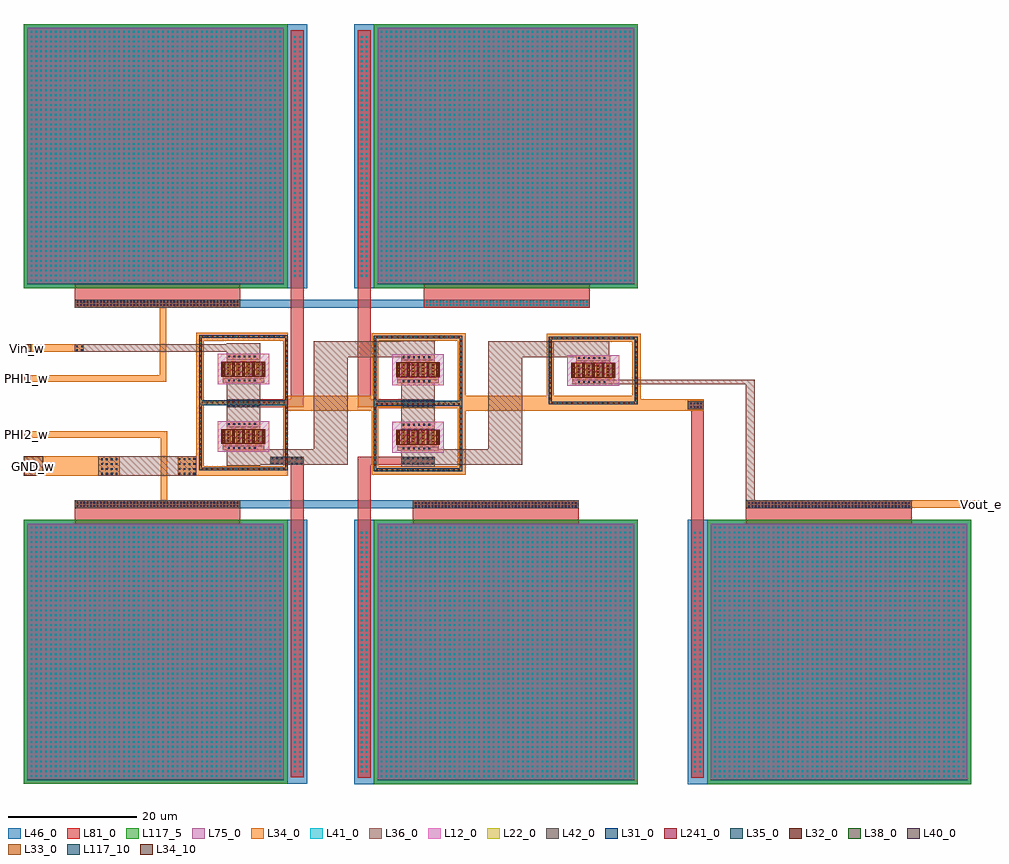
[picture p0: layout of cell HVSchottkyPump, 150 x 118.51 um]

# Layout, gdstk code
import gdstk
lib = gdstk.Library(unit=1e-6, precision=1e-09)
def R(c, l, rs):  # rectangles x0, y0, x1, y1
    for r in rs: c.add(gdstk.rectangle(r[:2], r[2:], *l))
def A(c, l, x, y, w, h, nx, ny, dx, dy):  # array of equal rectangles
    R(c, l, [(x+i*dx, y+j*dy, x+i*dx+w, y+j*dy+h) for i in range(nx) for j in range(ny)])
def P(c, l, *ps):  # polygons
    for p in ps: c.add(gdstk.Polygon(p, *l))
L12_0 = (12, 0)
L22_0 = (22, 0)
L31_0 = (31, 0)
L32_0 = (32, 0)
L33_0 = (33, 0)
L34_0 = (34, 0)
L34_10 = (34, 10)
L35_0 = (35, 0)
L36_0 = (36, 0)
L38_0 = (38, 0)
L40_0 = (40, 0)
L41_0 = (41, 0)
L42_0 = (42, 0)
L46_0 = (46, 0)
L75_0 = (75, 0)
L81_0 = (81, 0)
L117_5 = (117, 5)
L117_10 = (117, 10)
L241_0 = (241, 0)

cap_mim = lib.new_cell('cap_mim')
A(cap_mim, L41_0, 0.49, 0.49, 0.26, 0.26, 52, 52, 0.76, 0.76)
R(cap_mim, L46_0, [(-0.6,-0.6,40.6,40.6)])
R(cap_mim, L75_0, [(0,0,40,40)])
R(cap_mim, L81_0, [(0,0,40,40)])
R(cap_mim, L117_5, [(-0.6,-0.6,40.6,40.6)])
R(cap_mim, L117_10, [(0,0,40,0.1)])

sc_diode = lib.new_cell('sc_diode')
R(sc_diode, L12_0, [(-0.76,-1.4,7.28,3.4)])
A(sc_diode, L22_0, 0, 0, 0.36, 2, 5, 1, 1.54, 0)
A(sc_diode, L22_0, 0.64, 0, 0.62, 2, 4, 1, 1.54, 0)
P(sc_diode, L22_0, [(-3.62,-4.26),(-3.62,5.9),(-3.26,5.9),(-3.26,-3.9),(9.78,-3.9),(9.78,5.9),(-3.62,5.9),(-3.62,6.26),(10.14,6.26),(10.14,-4.26)])
P(sc_diode, L31_0, [(-3.65,-4.29),(-3.65,5.87),(-3.23,5.87),(-3.23,-3.87),(9.75,-3.87),(9.75,5.87),(-3.65,5.87),(-3.65,6.29),(10.17,6.29),(10.17,-4.29)])
A(sc_diode, L32_0, -0.03, -0.03, 0.42, 2.06, 5, 1, 1.54, 0)
A(sc_diode, L33_0, 0.07, 0.185, 0.22, 0.22, 9, 4, 0.77, 0.47)
A(sc_diode, L34_0, 0, -0.23, 0.36, 2.23, 5, 1, 1.54, 0)
A(sc_diode, L34_0, 0.64, 0, 0.62, 2.23, 4, 1, 1.54, 0)
R(sc_diode, L34_0, [(0,-0.46,6.52,-0.23), (0.64,2.23,5.88,2.46)])
R(sc_diode, L241_0, [(-0.16,-0.16,6.68,2.16)])

hvschottkypump = lib.new_cell('HVSchottkyPump')
A(hvschottkypump, L33_0, 54.99, 48.87, 0.22, 0.22, 17, 2, 0.8, 20.68)
A(hvschottkypump, L33_0, 27.76, 48.97, 0.22, 0.22, 17, 2, 0.8, 20.68)
A(hvschottkypump, L33_0, 54.7, 49.6, 0.22, 0.22, 1, 12, 0, 0.8)
A(hvschottkypump, L33_0, 68.1, 49.6, 0.22, 0.22, 1, 12, 0, 0.8)
A(hvschottkypump, L33_0, 27.47, 49.7, 0.22, 0.22, 1, 12, 0, 0.8)
A(hvschottkypump, L33_0, 40.87, 49.7, 0.22, 0.22, 1, 12, 0, 0.8)
A(hvschottkypump, L33_0, 82.02, 60.01, 0.22, 0.22, 1, 12, 0, 0.8)
A(hvschottkypump, L33_0, 95.42, 60.01, 0.22, 0.22, 1, 12, 0, 0.8)
A(hvschottkypump, L33_0, 54.7, 60.12, 0.22, 0.22, 1, 12, 0, 0.8)
A(hvschottkypump, L33_0, 68.1, 60.12, 0.22, 0.22, 1, 12, 0, 0.8)
A(hvschottkypump, L33_0, 27.47, 60.22, 0.22, 0.22, 1, 12, 0, 0.8)
A(hvschottkypump, L33_0, 40.87, 60.22, 0.22, 0.22, 1, 12, 0, 0.8)
A(hvschottkypump, L33_0, 82.31, 69.44, 0.22, 0.22, 17, 1, 0.8, 0)
R(hvschottkypump, L33_0, [(54.99,59.14,55.21,59.36), (54.99,59.14,55.21,59.36), (55.79,59.14,56.01,59.36), (55.79,59.14,56.01,59.36), (56.59,59.14,56.81,59.36), (56.59,59.14,56.81,59.36), (57.39,59.14,57.61,59.36), (57.39,59.14,57.61,59.36), (58.19,59.14,58.41,59.36), (58.19,59.14,58.41,59.36), (58.99,59.14,59.21,59.36), (58.99,59.14,59.21,59.36), (59.79,59.14,60.01,59.36), (59.79,59.14,60.01,59.36), (60.59,59.14,60.81,59.36), (60.59,59.14,60.81,59.36), (61.39,59.14,61.61,59.36), (61.39,59.14,61.61,59.36), (62.19,59.14,62.41,59.36), (62.19,59.14,62.41,59.36), (62.99,59.14,63.21,59.36), (62.99,59.14,63.21,59.36), (63.79,59.14,64.01,59.36), (63.79,59.14,64.01,59.36), (64.59,59.14,64.81,59.36), (64.59,59.14,64.81,59.36), (65.39,59.14,65.61,59.36), (65.39,59.14,65.61,59.36), (66.19,59.14,66.41,59.36), (66.19,59.14,66.41,59.36), (66.99,59.14,67.21,59.36), (66.99,59.14,67.21,59.36), (67.79,59.14,68.01,59.36), (67.79,59.14,68.01,59.36), (82.31,59.28,82.53,59.5), (82.31,59.28,82.53,59.5), (83.11,59.28,83.33,59.5), (83.11,59.28,83.33,59.5), (83.91,59.28,84.13,59.5), (83.91,59.28,84.13,59.5), (84.71,59.28,84.93,59.5), (84.71,59.28,84.93,59.5), (85.51,59.28,85.73,59.5), (85.51,59.28,85.73,59.5), (86.31,59.28,86.53,59.5), (86.31,59.28,86.53,59.5), (87.11,59.28,87.33,59.5), (87.11,59.28,87.33,59.5), (87.91,59.28,88.13,59.5), (87.91,59.28,88.13,59.5), (88.71,59.28,88.93,59.5), (88.71,59.28,88.93,59.5), (89.51,59.28,89.73,59.5), (89.51,59.28,89.73,59.5), (90.31,59.28,90.53,59.5), (90.31,59.28,90.53,59.5), (91.11,59.28,91.33,59.5), (91.11,59.28,91.33,59.5), (91.91,59.28,92.13,59.5), (91.91,59.28,92.13,59.5), (92.71,59.28,92.93,59.5), (92.71,59.28,92.93,59.5), (93.51,59.28,93.73,59.5), (93.51,59.28,93.73,59.5), (94.31,59.28,94.53,59.5), (94.31,59.28,94.53,59.5), (95.11,59.28,95.33,59.5), (95.11,59.28,95.33,59.5), (27.76,59.34,27.98,59.56), (27.76,59.34,27.98,59.56), (28.56,59.34,28.78,59.56), (28.56,59.34,28.78,59.56), (29.36,59.34,29.58,59.56), (29.36,59.34,29.58,59.56), (30.16,59.34,30.38,59.56), (30.16,59.34,30.38,59.56), (30.96,59.34,31.18,59.56), (30.96,59.34,31.18,59.56), (31.76,59.34,31.98,59.56), (31.76,59.34,31.98,59.56), (32.56,59.34,32.78,59.56), (32.56,59.34,32.78,59.56), (33.36,59.34,33.58,59.56), (33.36,59.34,33.58,59.56), (34.16,59.34,34.38,59.56), (34.16,59.34,34.38,59.56), (34.96,59.34,35.18,59.56), (34.96,59.34,35.18,59.56), (35.76,59.34,35.98,59.56), (35.76,59.34,35.98,59.56), (36.56,59.34,36.78,59.56), (36.56,59.34,36.78,59.56), (37.36,59.34,37.58,59.56), (37.36,59.34,37.58,59.56), (38.16,59.34,38.38,59.56), (38.16,59.34,38.38,59.56), (38.96,59.34,39.18,59.56), (38.96,59.34,39.18,59.56), (39.76,59.34,39.98,59.56), (39.76,59.34,39.98,59.56), (40.56,59.34,40.78,59.56), (40.56,59.34,40.78,59.56)])
A(hvschottkypump, L34_0, 60.675, 42.945, 2.47, 1.245, 16, 1, 1.56, 0)
A(hvschottkypump, L34_0, 112.65, 42.945, 2.47, 1.245, 16, 1, 1.56, 0)
A(hvschottkypump, L34_0, 7.945, 42.965, 2.47, 1.245, 16, 2, 1.56, 31.315)
R(hvschottkypump, L34_0, [(118.96,43.03,119.23,44.19), (119.23,43.03,140.6,44.19), (140.6,43.03,149.99,44.19), (21.365,44.18,22.365,55), (0,48.02,15,51.07), (24.01,48.02,27.375,51.07), (26.9,48.02,28.09,69.97), (26.9,48.02,41.19,49.545), (27.375,48.02,41.195,48.99), (40.46,48.02,41.19,70.35), (54.28,48.18,68.92,49.53), (67.72,48.18,68.92,70.25), (54.28,48.41,55.28,70.25), (54.605,48.74,68.42,48.77), (54.6,48.77,68.42,49.19), (54.6,48.77,55.02,58.93), (68,48.77,68.42,59.35), (27.375,48.84,41.195,48.87), (27.37,48.87,41.19,49.29), (27.37,48.87,27.79,59.03), (40.77,48.87,41.19,59.45), (58.25,51.92,64.77,52.6), (31.02,52.02,37.54,52.7), (19.435,54,22.365,55), (58.885,55.52,64.13,56.46), (58.885,55.52,64.13,56.46), (58.89,55.52,64.135,56.46), (58.89,55.52,64.135,56.46), (58.89,55.52,64.135,56.46), (58.89,55.52,64.135,56.46), (31.66,55.62,36.905,56.56), (31.66,55.62,36.905,56.56), (31.66,55.62,36.905,56.56), (31.66,55.62,36.905,56.56), (41.095,58.15,54.695,60.545), (68.315,58.155,81.915,60.55), (81.915,58.155,95.635,59.15), (95.635,58.155,106.075,59.95), (103.605,58.44,106.075,59.685), (54.6,58.58,68.315,59.71), (81.6,58.77,82.69,70.04), (81.6,58.77,95.74,60.53), (27.37,59.03,40.77,59.39), (94.92,59.12,96.21,70.16), (81.915,59.15,95.635,59.18), (81.91,59.18,81.92,60.55), (81.92,59.18,95.74,59.6), (81.92,59.18,95.74,59.6), (81.92,59.18,82.34,69.34), (95.32,59.18,95.74,69.76), (54.6,59.29,68.42,59.71), (54.6,59.29,68.42,59.71), (54.6,59.29,55.02,69.45), (68,59.29,68.42,69.87), (27.37,59.39,41.19,59.81), (27.37,59.39,41.19,59.81), (27.37,59.39,27.79,69.55), (40.77,59.39,41.19,69.97), (85.57,62.33,92.09,63.01), (58.25,62.44,64.77,63.12), (31.02,62.54,37.54,63.22), (19.335,62.7,22.265,63.7), (19.335,63.01,22.265,63.345), (21.26,63.01,22.265,75.29), (86.205,65.93,91.45,66.87), (86.205,65.93,91.45,66.87), (86.21,65.93,91.455,66.87), (86.21,65.93,91.455,66.87), (58.885,66.04,64.13,66.98), (58.89,66.04,64.135,66.98), (58.89,66.04,64.135,66.98), (31.66,66.14,36.905,67.08), (31.66,66.14,36.905,67.08), (-0.005,67.37,9.385,68.53), (-0.005,67.37,9.385,68.53), (81.6,68.95,96.21,70.16), (54.28,69.07,68.92,70.25), (26.9,69.11,41.19,70.35), (81.92,69.34,95.74,69.76), (54.6,69.45,68.42,69.87), (27.37,69.55,41.19,69.97)])
R(hvschottkypump, L34_10, [(148.7,43.03,149.99,44.19), (0,48.02,3.04,51.07), (0,54,1.015,55), (0,62.7,1.015,63.7), (-0.005,67.37,1.175,68.53), (-0.005,67.37,1.175,68.53), (-0.005,67.37,1.175,68.53), (-0.005,67.37,1.175,68.53)])
A(hvschottkypump, L35_0, 61.02, 43.165, 0.26, 0.26, 4, 2, 0.52, 0.52)
A(hvschottkypump, L35_0, 62.58, 43.165, 0.26, 0.26, 4, 2, 0.52, 0.52)
A(hvschottkypump, L35_0, 64.14, 43.165, 0.26, 0.26, 4, 2, 0.52, 0.52)
A(hvschottkypump, L35_0, 65.7, 43.165, 0.26, 0.26, 4, 2, 0.52, 0.52)
A(hvschottkypump, L35_0, 67.26, 43.165, 0.26, 0.26, 4, 2, 0.52, 0.52)
A(hvschottkypump, L35_0, 68.82, 43.165, 0.26, 0.26, 4, 2, 0.52, 0.52)
A(hvschottkypump, L35_0, 70.38, 43.165, 0.26, 0.26, 4, 2, 0.52, 0.52)
A(hvschottkypump, L35_0, 71.94, 43.165, 0.26, 0.26, 4, 2, 0.52, 0.52)
A(hvschottkypump, L35_0, 73.5, 43.165, 0.26, 0.26, 4, 2, 0.52, 0.52)
A(hvschottkypump, L35_0, 75.06, 43.165, 0.26, 0.26, 4, 2, 0.52, 0.52)
A(hvschottkypump, L35_0, 76.62, 43.165, 0.26, 0.26, 4, 2, 0.52, 0.52)
A(hvschottkypump, L35_0, 78.18, 43.165, 0.26, 0.26, 4, 2, 0.52, 0.52)
A(hvschottkypump, L35_0, 79.74, 43.165, 0.26, 0.26, 4, 2, 0.52, 0.52)
A(hvschottkypump, L35_0, 81.3, 43.165, 0.26, 0.26, 4, 2, 0.52, 0.52)
A(hvschottkypump, L35_0, 82.86, 43.165, 0.26, 0.26, 4, 2, 0.52, 0.52)
A(hvschottkypump, L35_0, 84.42, 43.165, 0.26, 0.26, 4, 2, 0.52, 0.52)
A(hvschottkypump, L35_0, 112.995, 43.165, 0.26, 0.26, 4, 2, 0.52, 0.52)
A(hvschottkypump, L35_0, 114.555, 43.165, 0.26, 0.26, 4, 2, 0.52, 0.52)
A(hvschottkypump, L35_0, 116.115, 43.165, 0.26, 0.26, 4, 2, 0.52, 0.52)
A(hvschottkypump, L35_0, 117.675, 43.165, 0.26, 0.26, 4, 2, 0.52, 0.52)
A(hvschottkypump, L35_0, 119.235, 43.165, 0.26, 0.26, 4, 2, 0.52, 0.52)
A(hvschottkypump, L35_0, 120.795, 43.165, 0.26, 0.26, 4, 2, 0.52, 0.52)
A(hvschottkypump, L35_0, 122.355, 43.165, 0.26, 0.26, 4, 2, 0.52, 0.52)
A(hvschottkypump, L35_0, 123.915, 43.165, 0.26, 0.26, 4, 2, 0.52, 0.52)
A(hvschottkypump, L35_0, 125.475, 43.165, 0.26, 0.26, 4, 2, 0.52, 0.52)
A(hvschottkypump, L35_0, 127.035, 43.165, 0.26, 0.26, 4, 2, 0.52, 0.52)
A(hvschottkypump, L35_0, 128.595, 43.165, 0.26, 0.26, 4, 2, 0.52, 0.52)
A(hvschottkypump, L35_0, 130.155, 43.165, 0.26, 0.26, 4, 2, 0.52, 0.52)
A(hvschottkypump, L35_0, 131.715, 43.165, 0.26, 0.26, 4, 2, 0.52, 0.52)
A(hvschottkypump, L35_0, 133.275, 43.165, 0.26, 0.26, 4, 2, 0.52, 0.52)
A(hvschottkypump, L35_0, 134.835, 43.165, 0.26, 0.26, 4, 2, 0.52, 0.52)
A(hvschottkypump, L35_0, 136.395, 43.165, 0.26, 0.26, 4, 2, 0.52, 0.52)
A(hvschottkypump, L35_0, 8.29, 43.185, 0.26, 0.26, 4, 2, 0.52, 0.52)
A(hvschottkypump, L35_0, 9.85, 43.185, 0.26, 0.26, 4, 2, 0.52, 0.52)
A(hvschottkypump, L35_0, 11.41, 43.185, 0.26, 0.26, 4, 2, 0.52, 0.52)
A(hvschottkypump, L35_0, 12.97, 43.185, 0.26, 0.26, 4, 2, 0.52, 0.52)
A(hvschottkypump, L35_0, 14.53, 43.185, 0.26, 0.26, 4, 2, 0.52, 0.52)
A(hvschottkypump, L35_0, 16.09, 43.185, 0.26, 0.26, 4, 2, 0.52, 0.52)
A(hvschottkypump, L35_0, 17.65, 43.185, 0.26, 0.26, 4, 2, 0.52, 0.52)
A(hvschottkypump, L35_0, 19.21, 43.185, 0.26, 0.26, 4, 2, 0.52, 0.52)
A(hvschottkypump, L35_0, 20.77, 43.185, 0.26, 0.26, 4, 2, 0.52, 0.52)
A(hvschottkypump, L35_0, 22.33, 43.185, 0.26, 0.26, 4, 2, 0.52, 0.52)
A(hvschottkypump, L35_0, 23.89, 43.185, 0.26, 0.26, 4, 2, 0.52, 0.52)
A(hvschottkypump, L35_0, 25.45, 43.185, 0.26, 0.26, 4, 2, 0.52, 0.52)
A(hvschottkypump, L35_0, 27.01, 43.185, 0.26, 0.26, 4, 2, 0.52, 0.52)
A(hvschottkypump, L35_0, 28.57, 43.185, 0.26, 0.26, 4, 2, 0.52, 0.52)
A(hvschottkypump, L35_0, 30.13, 43.185, 0.26, 0.26, 4, 2, 0.52, 0.52)
A(hvschottkypump, L35_0, 31.69, 43.185, 0.26, 0.26, 4, 2, 0.52, 0.52)
A(hvschottkypump, L35_0, 12.09, 48.22, 0.26, 0.26, 4, 4, 0.76, 0.76)
A(hvschottkypump, L35_0, 24.2, 48.23, 0.26, 0.26, 4, 4, 0.76, 0.76)
A(hvschottkypump, L35_0, 59.135, 52.14, 0.26, 0.26, 6, 2, 0.8, 10.52)
A(hvschottkypump, L35_0, 31.905, 52.24, 0.26, 0.26, 6, 2, 0.8, 10.52)
A(hvschottkypump, L35_0, 103.95, 58.66, 0.26, 0.26, 4, 2, 0.52, 0.52)
A(hvschottkypump, L35_0, 86.455, 62.55, 0.26, 0.26, 6, 2, 0.8, 3.73)
A(hvschottkypump, L35_0, 59.135, 66.39, 0.26, 0.26, 6, 1, 0.8, 0)
A(hvschottkypump, L35_0, 8.29, 74.525, 0.26, 0.26, 4, 2, 0.52, 0.52)
A(hvschottkypump, L35_0, 9.85, 74.525, 0.26, 0.26, 4, 2, 0.52, 0.52)
A(hvschottkypump, L35_0, 11.41, 74.525, 0.26, 0.26, 4, 2, 0.52, 0.52)
A(hvschottkypump, L35_0, 12.97, 74.525, 0.26, 0.26, 4, 2, 0.52, 0.52)
A(hvschottkypump, L35_0, 14.53, 74.525, 0.26, 0.26, 4, 2, 0.52, 0.52)
A(hvschottkypump, L35_0, 16.09, 74.525, 0.26, 0.26, 4, 2, 0.52, 0.52)
A(hvschottkypump, L35_0, 17.65, 74.525, 0.26, 0.26, 4, 2, 0.52, 0.52)
A(hvschottkypump, L35_0, 19.21, 74.525, 0.26, 0.26, 4, 2, 0.52, 0.52)
A(hvschottkypump, L35_0, 20.77, 74.525, 0.26, 0.26, 4, 2, 0.52, 0.52)
A(hvschottkypump, L35_0, 22.33, 74.525, 0.26, 0.26, 4, 2, 0.52, 0.52)
A(hvschottkypump, L35_0, 23.89, 74.525, 0.26, 0.26, 4, 2, 0.52, 0.52)
A(hvschottkypump, L35_0, 25.45, 74.525, 0.26, 0.26, 4, 2, 0.52, 0.52)
A(hvschottkypump, L35_0, 27.01, 74.525, 0.26, 0.26, 4, 2, 0.52, 0.52)
A(hvschottkypump, L35_0, 28.57, 74.525, 0.26, 0.26, 4, 2, 0.52, 0.52)
A(hvschottkypump, L35_0, 30.13, 74.525, 0.26, 0.26, 4, 2, 0.52, 0.52)
A(hvschottkypump, L35_0, 31.69, 74.525, 0.26, 0.26, 4, 2, 0.52, 0.52)
R(hvschottkypump, L35_0, [(61.02,43.685,61.28,43.945), (62.58,43.685,62.84,43.945), (64.14,43.685,64.4,43.945), (65.7,43.685,65.96,43.945), (67.26,43.685,67.52,43.945), (68.82,43.685,69.08,43.945), (70.38,43.685,70.64,43.945), (71.94,43.685,72.2,43.945), (73.5,43.685,73.76,43.945), (75.06,43.685,75.32,43.945), (76.62,43.685,76.88,43.945), (78.18,43.685,78.44,43.945), (79.74,43.685,80,43.945), (81.3,43.685,81.56,43.945), (82.86,43.685,83.12,43.945), (84.42,43.685,84.68,43.945), (112.995,43.685,113.255,43.945), (114.555,43.685,114.815,43.945), (116.115,43.685,116.375,43.945), (117.675,43.685,117.935,43.945), (119.235,43.685,119.495,43.945), (120.795,43.685,121.055,43.945), (122.355,43.685,122.615,43.945), (123.915,43.685,124.175,43.945), (125.475,43.685,125.735,43.945), (127.035,43.685,127.295,43.945), (128.595,43.685,128.855,43.945), (130.155,43.685,130.415,43.945), (131.715,43.685,131.975,43.945), (133.275,43.685,133.535,43.945), (134.835,43.685,135.095,43.945), (136.395,43.685,136.655,43.945), (8.29,43.705,8.55,43.965), (9.85,43.705,10.11,43.965), (11.41,43.705,11.67,43.965), (12.97,43.705,13.23,43.965), (14.53,43.705,14.79,43.965), (16.09,43.705,16.35,43.965), (17.65,43.705,17.91,43.965), (19.21,43.705,19.47,43.965), (20.77,43.705,21.03,43.965), (22.33,43.705,22.59,43.965), (23.89,43.705,24.15,43.965), (25.45,43.705,25.71,43.965), (27.01,43.705,27.27,43.965), (28.57,43.705,28.83,43.965), (30.13,43.705,30.39,43.965), (31.69,43.705,31.95,43.965), (59.135,55.87,59.395,56.13), (59.135,55.87,59.395,56.13), (59.935,55.87,60.195,56.13), (59.935,55.87,60.195,56.13), (60.735,55.87,60.995,56.13), (60.735,55.87,60.995,56.13), (61.535,55.87,61.795,56.13), (61.535,55.87,61.795,56.13), (62.335,55.87,62.595,56.13), (62.335,55.87,62.595,56.13), (63.135,55.87,63.395,56.13), (63.135,55.87,63.395,56.13), (31.91,55.97,32.17,56.23), (31.91,55.97,32.17,56.23), (32.71,55.97,32.97,56.23), (32.71,55.97,32.97,56.23), (33.51,55.97,33.77,56.23), (33.51,55.97,33.77,56.23), (34.31,55.97,34.57,56.23), (34.31,55.97,34.57,56.23), (35.11,55.97,35.37,56.23), (35.11,55.97,35.37,56.23), (35.91,55.97,36.17,56.23), (35.91,55.97,36.17,56.23), (105.51,58.66,105.77,58.92), (103.95,59.18,104.21,59.44), (105.51,59.18,105.77,59.44), (105.51,59.18,105.77,59.44), (31.91,66.49,32.17,66.75), (31.91,66.49,32.17,66.75), (32.71,66.49,32.97,66.75), (32.71,66.49,32.97,66.75), (33.51,66.49,33.77,66.75), (33.51,66.49,33.77,66.75), (34.31,66.49,34.57,66.75), (34.31,66.49,34.57,66.75), (35.11,66.49,35.37,66.75), (35.11,66.49,35.37,66.75), (35.91,66.49,36.17,66.75), (35.91,66.49,36.17,66.75), (8.175,67.53,8.435,67.79), (8.175,67.53,8.435,67.79), (9.015,67.53,9.275,67.79), (9.015,67.53,9.275,67.79), (8.175,68.07,8.435,68.33), (8.175,68.07,8.435,68.33), (9.015,68.07,9.275,68.33), (9.015,68.07,9.275,68.33), (8.29,74.525,8.55,74.785), (9.85,74.525,10.11,74.785), (11.41,74.525,11.67,74.785), (12.97,74.525,13.23,74.785), (14.53,74.525,14.79,74.785), (16.09,74.525,16.35,74.785), (17.65,74.525,17.91,74.785), (19.21,74.525,19.47,74.785), (20.77,74.525,21.03,74.785), (22.33,74.525,22.59,74.785), (23.89,74.525,24.15,74.785), (25.45,74.525,25.71,74.785), (27.01,74.525,27.27,74.785), (28.57,74.525,28.83,74.785), (30.13,74.525,30.39,74.785), (31.69,74.525,31.95,74.785)])
A(hvschottkypump, L36_0, 60.675, 42.945, 2.47, 1.245, 16, 1, 1.56, 0)
A(hvschottkypump, L36_0, 112.65, 42.945, 2.47, 1.245, 16, 1, 1.56, 0)
A(hvschottkypump, L36_0, 7.945, 42.965, 2.47, 1.245, 16, 2, 1.56, 31.315)
R(hvschottkypump, L36_0, [(112.65,44.19,113.995,62.33), (11.68,48.02,26.9,51.07), (58.885,49.48,64.125,51.92), (31.665,49.58,36.905,52.02), (36.905,49.73,45.275,52.17), (45.275,49.73,50.515,68.99), (64.125,49.73,72.495,52.17), (72.495,49.73,77.735,68.99), (58.25,51.92,64.77,52.6), (31.02,52.02,37.54,52.7), (58.89,55.29,64.125,55.52), (58.89,55.52,64.125,56.44), (58.89,55.52,64.125,56.44), (31.665,55.62,36.9,56.54), (31.665,55.62,36.9,56.54), (31.665,56.39,36.905,62.33), (58.885,56.39,64.125,62.33), (103.605,58.44,106.075,59.685), (31.665,62.33,36.91,62.54), (58.885,62.33,64.13,62.44), (85.57,62.33,92.09,63.01), (58.25,62.44,64.77,63.12), (31.02,62.54,37.54,63.22), (86.21,65.93,91.445,66.85), (58.89,66.04,64.125,66.96), (31.665,66.14,36.9,67.06), (31.665,66.14,36.9,67.06), (50.515,66.55,58.885,68.99), (58.885,66.55,58.89,66.66), (77.735,66.55,86.105,68.99), (86.105,66.55,91.345,68.99), (58.885,66.66,64.125,69.1), (31.665,66.76,36.905,68.74), (7.995,67.37,31.665,68.53)])
A(hvschottkypump, L38_0, 61.02, 43.165, 0.26, 0.26, 4, 2, 0.52, 0.52)
A(hvschottkypump, L38_0, 62.58, 43.165, 0.26, 0.26, 4, 2, 0.52, 0.52)
A(hvschottkypump, L38_0, 64.14, 43.165, 0.26, 0.26, 4, 2, 0.52, 0.52)
A(hvschottkypump, L38_0, 65.7, 43.165, 0.26, 0.26, 4, 2, 0.52, 0.52)
A(hvschottkypump, L38_0, 67.26, 43.165, 0.26, 0.26, 4, 2, 0.52, 0.52)
A(hvschottkypump, L38_0, 68.82, 43.165, 0.26, 0.26, 4, 2, 0.52, 0.52)
A(hvschottkypump, L38_0, 70.38, 43.165, 0.26, 0.26, 4, 2, 0.52, 0.52)
A(hvschottkypump, L38_0, 71.94, 43.165, 0.26, 0.26, 4, 2, 0.52, 0.52)
A(hvschottkypump, L38_0, 73.5, 43.165, 0.26, 0.26, 4, 2, 0.52, 0.52)
A(hvschottkypump, L38_0, 75.06, 43.165, 0.26, 0.26, 4, 2, 0.52, 0.52)
A(hvschottkypump, L38_0, 76.62, 43.165, 0.26, 0.26, 4, 2, 0.52, 0.52)
A(hvschottkypump, L38_0, 78.18, 43.165, 0.26, 0.26, 4, 2, 0.52, 0.52)
A(hvschottkypump, L38_0, 79.74, 43.165, 0.26, 0.26, 4, 2, 0.52, 0.52)
A(hvschottkypump, L38_0, 81.3, 43.165, 0.26, 0.26, 4, 2, 0.52, 0.52)
A(hvschottkypump, L38_0, 82.86, 43.165, 0.26, 0.26, 4, 2, 0.52, 0.52)
A(hvschottkypump, L38_0, 84.42, 43.165, 0.26, 0.26, 4, 2, 0.52, 0.52)
A(hvschottkypump, L38_0, 112.995, 43.165, 0.26, 0.26, 4, 2, 0.52, 0.52)
A(hvschottkypump, L38_0, 114.555, 43.165, 0.26, 0.26, 4, 2, 0.52, 0.52)
A(hvschottkypump, L38_0, 116.115, 43.165, 0.26, 0.26, 4, 2, 0.52, 0.52)
A(hvschottkypump, L38_0, 117.675, 43.165, 0.26, 0.26, 4, 2, 0.52, 0.52)
A(hvschottkypump, L38_0, 119.235, 43.165, 0.26, 0.26, 4, 2, 0.52, 0.52)
A(hvschottkypump, L38_0, 120.795, 43.165, 0.26, 0.26, 4, 2, 0.52, 0.52)
A(hvschottkypump, L38_0, 122.355, 43.165, 0.26, 0.26, 4, 2, 0.52, 0.52)
A(hvschottkypump, L38_0, 123.915, 43.165, 0.26, 0.26, 4, 2, 0.52, 0.52)
A(hvschottkypump, L38_0, 125.475, 43.165, 0.26, 0.26, 4, 2, 0.52, 0.52)
A(hvschottkypump, L38_0, 127.035, 43.165, 0.26, 0.26, 4, 2, 0.52, 0.52)
A(hvschottkypump, L38_0, 128.595, 43.165, 0.26, 0.26, 4, 2, 0.52, 0.52)
A(hvschottkypump, L38_0, 130.155, 43.165, 0.26, 0.26, 4, 2, 0.52, 0.52)
A(hvschottkypump, L38_0, 131.715, 43.165, 0.26, 0.26, 4, 2, 0.52, 0.52)
A(hvschottkypump, L38_0, 133.275, 43.165, 0.26, 0.26, 4, 2, 0.52, 0.52)
A(hvschottkypump, L38_0, 134.835, 43.165, 0.26, 0.26, 4, 2, 0.52, 0.52)
A(hvschottkypump, L38_0, 136.395, 43.165, 0.26, 0.26, 4, 2, 0.52, 0.52)
A(hvschottkypump, L38_0, 8.29, 43.185, 0.26, 0.26, 4, 2, 0.52, 0.52)
A(hvschottkypump, L38_0, 9.85, 43.185, 0.26, 0.26, 4, 2, 0.52, 0.52)
A(hvschottkypump, L38_0, 11.41, 43.185, 0.26, 0.26, 4, 2, 0.52, 0.52)
A(hvschottkypump, L38_0, 12.97, 43.185, 0.26, 0.26, 4, 2, 0.52, 0.52)
A(hvschottkypump, L38_0, 14.53, 43.185, 0.26, 0.26, 4, 2, 0.52, 0.52)
A(hvschottkypump, L38_0, 16.09, 43.185, 0.26, 0.26, 4, 2, 0.52, 0.52)
A(hvschottkypump, L38_0, 17.65, 43.185, 0.26, 0.26, 4, 2, 0.52, 0.52)
A(hvschottkypump, L38_0, 19.21, 43.185, 0.26, 0.26, 4, 2, 0.52, 0.52)
A(hvschottkypump, L38_0, 20.77, 43.185, 0.26, 0.26, 4, 2, 0.52, 0.52)
A(hvschottkypump, L38_0, 22.33, 43.185, 0.26, 0.26, 4, 2, 0.52, 0.52)
A(hvschottkypump, L38_0, 23.89, 43.185, 0.26, 0.26, 4, 2, 0.52, 0.52)
A(hvschottkypump, L38_0, 25.45, 43.185, 0.26, 0.26, 4, 2, 0.52, 0.52)
A(hvschottkypump, L38_0, 27.01, 43.185, 0.26, 0.26, 4, 2, 0.52, 0.52)
A(hvschottkypump, L38_0, 28.57, 43.185, 0.26, 0.26, 4, 2, 0.52, 0.52)
A(hvschottkypump, L38_0, 30.13, 43.185, 0.26, 0.26, 4, 2, 0.52, 0.52)
A(hvschottkypump, L38_0, 31.69, 43.185, 0.26, 0.26, 4, 2, 0.52, 0.52)
A(hvschottkypump, L38_0, 38.665, 49.85, 0.26, 0.26, 7, 2, 0.76, 0.76)
A(hvschottkypump, L38_0, 59.095, 49.85, 0.26, 0.26, 7, 2, 0.76, 0.76)
A(hvschottkypump, L38_0, 103.95, 58.66, 0.26, 0.26, 4, 2, 0.52, 0.52)
A(hvschottkypump, L38_0, 31.875, 58.85, 0.26, 0.26, 7, 2, 0.76, 0.76)
A(hvschottkypump, L38_0, 59.095, 58.85, 0.26, 0.26, 7, 2, 0.76, 0.76)
A(hvschottkypump, L38_0, 8.29, 74.525, 0.26, 0.26, 4, 2, 0.52, 0.52)
A(hvschottkypump, L38_0, 9.85, 74.525, 0.26, 0.26, 4, 2, 0.52, 0.52)
A(hvschottkypump, L38_0, 11.41, 74.525, 0.26, 0.26, 4, 2, 0.52, 0.52)
A(hvschottkypump, L38_0, 12.97, 74.525, 0.26, 0.26, 4, 2, 0.52, 0.52)
A(hvschottkypump, L38_0, 14.53, 74.525, 0.26, 0.26, 4, 2, 0.52, 0.52)
A(hvschottkypump, L38_0, 16.09, 74.525, 0.26, 0.26, 4, 2, 0.52, 0.52)
A(hvschottkypump, L38_0, 17.65, 74.525, 0.26, 0.26, 4, 2, 0.52, 0.52)
A(hvschottkypump, L38_0, 19.21, 74.525, 0.26, 0.26, 4, 2, 0.52, 0.52)
A(hvschottkypump, L38_0, 20.77, 74.525, 0.26, 0.26, 4, 2, 0.52, 0.52)
A(hvschottkypump, L38_0, 22.33, 74.525, 0.26, 0.26, 4, 2, 0.52, 0.52)
A(hvschottkypump, L38_0, 23.89, 74.525, 0.26, 0.26, 4, 2, 0.52, 0.52)
A(hvschottkypump, L38_0, 25.45, 74.525, 0.26, 0.26, 4, 2, 0.52, 0.52)
A(hvschottkypump, L38_0, 27.01, 74.525, 0.26, 0.26, 4, 2, 0.52, 0.52)
A(hvschottkypump, L38_0, 28.57, 74.525, 0.26, 0.26, 4, 2, 0.52, 0.52)
A(hvschottkypump, L38_0, 30.13, 74.525, 0.26, 0.26, 4, 2, 0.52, 0.52)
A(hvschottkypump, L38_0, 31.69, 74.525, 0.26, 0.26, 4, 2, 0.52, 0.52)
R(hvschottkypump, L38_0, [(105.51,58.66,105.77,58.92), (105.51,59.18,105.77,59.44)])
A(hvschottkypump, L40_0, 61.02, 43.165, 0.26, 0.26, 4, 2, 0.52, 0.52)
A(hvschottkypump, L40_0, 62.58, 43.165, 0.26, 0.26, 4, 2, 0.52, 0.52)
A(hvschottkypump, L40_0, 64.14, 43.165, 0.26, 0.26, 4, 2, 0.52, 0.52)
A(hvschottkypump, L40_0, 65.7, 43.165, 0.26, 0.26, 4, 2, 0.52, 0.52)
A(hvschottkypump, L40_0, 67.26, 43.165, 0.26, 0.26, 4, 2, 0.52, 0.52)
A(hvschottkypump, L40_0, 68.82, 43.165, 0.26, 0.26, 4, 2, 0.52, 0.52)
A(hvschottkypump, L40_0, 70.38, 43.165, 0.26, 0.26, 4, 2, 0.52, 0.52)
A(hvschottkypump, L40_0, 71.94, 43.165, 0.26, 0.26, 4, 2, 0.52, 0.52)
A(hvschottkypump, L40_0, 73.5, 43.165, 0.26, 0.26, 4, 2, 0.52, 0.52)
A(hvschottkypump, L40_0, 75.06, 43.165, 0.26, 0.26, 4, 2, 0.52, 0.52)
A(hvschottkypump, L40_0, 76.62, 43.165, 0.26, 0.26, 4, 2, 0.52, 0.52)
A(hvschottkypump, L40_0, 78.18, 43.165, 0.26, 0.26, 4, 2, 0.52, 0.52)
A(hvschottkypump, L40_0, 79.74, 43.165, 0.26, 0.26, 4, 2, 0.52, 0.52)
A(hvschottkypump, L40_0, 81.3, 43.165, 0.26, 0.26, 4, 2, 0.52, 0.52)
A(hvschottkypump, L40_0, 82.86, 43.165, 0.26, 0.26, 4, 2, 0.52, 0.52)
A(hvschottkypump, L40_0, 84.42, 43.165, 0.26, 0.26, 4, 2, 0.52, 0.52)
A(hvschottkypump, L40_0, 112.995, 43.165, 0.26, 0.26, 4, 2, 0.52, 0.52)
A(hvschottkypump, L40_0, 114.555, 43.165, 0.26, 0.26, 4, 2, 0.52, 0.52)
A(hvschottkypump, L40_0, 116.115, 43.165, 0.26, 0.26, 4, 2, 0.52, 0.52)
A(hvschottkypump, L40_0, 117.675, 43.165, 0.26, 0.26, 4, 2, 0.52, 0.52)
A(hvschottkypump, L40_0, 119.235, 43.165, 0.26, 0.26, 4, 2, 0.52, 0.52)
A(hvschottkypump, L40_0, 120.795, 43.165, 0.26, 0.26, 4, 2, 0.52, 0.52)
A(hvschottkypump, L40_0, 122.355, 43.165, 0.26, 0.26, 4, 2, 0.52, 0.52)
A(hvschottkypump, L40_0, 123.915, 43.165, 0.26, 0.26, 4, 2, 0.52, 0.52)
A(hvschottkypump, L40_0, 125.475, 43.165, 0.26, 0.26, 4, 2, 0.52, 0.52)
A(hvschottkypump, L40_0, 127.035, 43.165, 0.26, 0.26, 4, 2, 0.52, 0.52)
A(hvschottkypump, L40_0, 128.595, 43.165, 0.26, 0.26, 4, 2, 0.52, 0.52)
A(hvschottkypump, L40_0, 130.155, 43.165, 0.26, 0.26, 4, 2, 0.52, 0.52)
A(hvschottkypump, L40_0, 131.715, 43.165, 0.26, 0.26, 4, 2, 0.52, 0.52)
A(hvschottkypump, L40_0, 133.275, 43.165, 0.26, 0.26, 4, 2, 0.52, 0.52)
A(hvschottkypump, L40_0, 134.835, 43.165, 0.26, 0.26, 4, 2, 0.52, 0.52)
A(hvschottkypump, L40_0, 136.395, 43.165, 0.26, 0.26, 4, 2, 0.52, 0.52)
A(hvschottkypump, L40_0, 8.29, 43.185, 0.26, 0.26, 4, 2, 0.52, 0.52)
A(hvschottkypump, L40_0, 9.85, 43.185, 0.26, 0.26, 4, 2, 0.52, 0.52)
A(hvschottkypump, L40_0, 11.41, 43.185, 0.26, 0.26, 4, 2, 0.52, 0.52)
A(hvschottkypump, L40_0, 12.97, 43.185, 0.26, 0.26, 4, 2, 0.52, 0.52)
A(hvschottkypump, L40_0, 14.53, 43.185, 0.26, 0.26, 4, 2, 0.52, 0.52)
A(hvschottkypump, L40_0, 16.09, 43.185, 0.26, 0.26, 4, 2, 0.52, 0.52)
A(hvschottkypump, L40_0, 17.65, 43.185, 0.26, 0.26, 4, 2, 0.52, 0.52)
A(hvschottkypump, L40_0, 19.21, 43.185, 0.26, 0.26, 4, 2, 0.52, 0.52)
A(hvschottkypump, L40_0, 20.77, 43.185, 0.26, 0.26, 4, 2, 0.52, 0.52)
A(hvschottkypump, L40_0, 22.33, 43.185, 0.26, 0.26, 4, 2, 0.52, 0.52)
A(hvschottkypump, L40_0, 23.89, 43.185, 0.26, 0.26, 4, 2, 0.52, 0.52)
A(hvschottkypump, L40_0, 25.45, 43.185, 0.26, 0.26, 4, 2, 0.52, 0.52)
A(hvschottkypump, L40_0, 27.01, 43.185, 0.26, 0.26, 4, 2, 0.52, 0.52)
A(hvschottkypump, L40_0, 28.57, 43.185, 0.26, 0.26, 4, 2, 0.52, 0.52)
A(hvschottkypump, L40_0, 30.13, 43.185, 0.26, 0.26, 4, 2, 0.52, 0.52)
A(hvschottkypump, L40_0, 31.69, 43.185, 0.26, 0.26, 4, 2, 0.52, 0.52)
A(hvschottkypump, L40_0, 38.665, 49.85, 0.26, 0.26, 7, 2, 0.76, 0.76)
A(hvschottkypump, L40_0, 59.095, 49.85, 0.26, 0.26, 7, 2, 0.76, 0.76)
A(hvschottkypump, L40_0, 103.95, 58.66, 0.26, 0.26, 4, 2, 0.52, 0.52)
A(hvschottkypump, L40_0, 31.875, 58.85, 0.26, 0.26, 7, 2, 0.76, 0.76)
A(hvschottkypump, L40_0, 59.095, 58.85, 0.26, 0.26, 7, 2, 0.76, 0.76)
A(hvschottkypump, L40_0, 8.29, 74.525, 0.26, 0.26, 4, 2, 0.52, 0.52)
A(hvschottkypump, L40_0, 9.85, 74.525, 0.26, 0.26, 4, 2, 0.52, 0.52)
A(hvschottkypump, L40_0, 11.41, 74.525, 0.26, 0.26, 4, 2, 0.52, 0.52)
A(hvschottkypump, L40_0, 12.97, 74.525, 0.26, 0.26, 4, 2, 0.52, 0.52)
A(hvschottkypump, L40_0, 14.53, 74.525, 0.26, 0.26, 4, 2, 0.52, 0.52)
A(hvschottkypump, L40_0, 16.09, 74.525, 0.26, 0.26, 4, 2, 0.52, 0.52)
A(hvschottkypump, L40_0, 17.65, 74.525, 0.26, 0.26, 4, 2, 0.52, 0.52)
A(hvschottkypump, L40_0, 19.21, 74.525, 0.26, 0.26, 4, 2, 0.52, 0.52)
A(hvschottkypump, L40_0, 20.77, 74.525, 0.26, 0.26, 4, 2, 0.52, 0.52)
A(hvschottkypump, L40_0, 22.33, 74.525, 0.26, 0.26, 4, 2, 0.52, 0.52)
A(hvschottkypump, L40_0, 23.89, 74.525, 0.26, 0.26, 4, 2, 0.52, 0.52)
A(hvschottkypump, L40_0, 25.45, 74.525, 0.26, 0.26, 4, 2, 0.52, 0.52)
A(hvschottkypump, L40_0, 27.01, 74.525, 0.26, 0.26, 4, 2, 0.52, 0.52)
A(hvschottkypump, L40_0, 28.57, 74.525, 0.26, 0.26, 4, 2, 0.52, 0.52)
A(hvschottkypump, L40_0, 30.13, 74.525, 0.26, 0.26, 4, 2, 0.52, 0.52)
A(hvschottkypump, L40_0, 31.69, 74.525, 0.26, 0.26, 4, 2, 0.52, 0.52)
R(hvschottkypump, L40_0, [(105.51,58.66,105.77,58.92), (105.51,59.18,105.77,59.44)])
A(hvschottkypump, L41_0, 52.59, 1.79, 0.26, 0.26, 1, 50, 0, 0.76)
A(hvschottkypump, L41_0, 53.35, 1.79, 0.26, 0.26, 1, 50, 0, 0.76)
A(hvschottkypump, L41_0, 104.565, 1.79, 0.26, 0.26, 1, 50, 0, 0.76)
A(hvschottkypump, L41_0, 105.325, 1.79, 0.26, 0.26, 1, 50, 0, 0.76)
A(hvschottkypump, L41_0, 42.19, 1.81, 0.26, 0.26, 1, 50, 0, 0.76)
A(hvschottkypump, L41_0, 42.95, 1.81, 0.26, 0.26, 1, 50, 0, 0.76)
A(hvschottkypump, L41_0, 61.02, 43.165, 0.26, 0.26, 4, 2, 0.52, 0.52)
A(hvschottkypump, L41_0, 62.58, 43.165, 0.26, 0.26, 4, 2, 0.52, 0.52)
A(hvschottkypump, L41_0, 64.14, 43.165, 0.26, 0.26, 4, 2, 0.52, 0.52)
A(hvschottkypump, L41_0, 65.7, 43.165, 0.26, 0.26, 4, 2, 0.52, 0.52)
A(hvschottkypump, L41_0, 67.26, 43.165, 0.26, 0.26, 4, 2, 0.52, 0.52)
A(hvschottkypump, L41_0, 68.82, 43.165, 0.26, 0.26, 4, 2, 0.52, 0.52)
A(hvschottkypump, L41_0, 70.38, 43.165, 0.26, 0.26, 4, 2, 0.52, 0.52)
A(hvschottkypump, L41_0, 71.94, 43.165, 0.26, 0.26, 4, 2, 0.52, 0.52)
A(hvschottkypump, L41_0, 73.5, 43.165, 0.26, 0.26, 4, 2, 0.52, 0.52)
A(hvschottkypump, L41_0, 75.06, 43.165, 0.26, 0.26, 4, 2, 0.52, 0.52)
A(hvschottkypump, L41_0, 76.62, 43.165, 0.26, 0.26, 4, 2, 0.52, 0.52)
A(hvschottkypump, L41_0, 78.18, 43.165, 0.26, 0.26, 4, 2, 0.52, 0.52)
A(hvschottkypump, L41_0, 79.74, 43.165, 0.26, 0.26, 4, 2, 0.52, 0.52)
A(hvschottkypump, L41_0, 81.3, 43.165, 0.26, 0.26, 4, 2, 0.52, 0.52)
A(hvschottkypump, L41_0, 82.86, 43.165, 0.26, 0.26, 4, 2, 0.52, 0.52)
A(hvschottkypump, L41_0, 84.42, 43.165, 0.26, 0.26, 4, 2, 0.52, 0.52)
A(hvschottkypump, L41_0, 112.995, 43.165, 0.26, 0.26, 4, 2, 0.52, 0.52)
A(hvschottkypump, L41_0, 114.555, 43.165, 0.26, 0.26, 4, 2, 0.52, 0.52)
A(hvschottkypump, L41_0, 116.115, 43.165, 0.26, 0.26, 4, 2, 0.52, 0.52)
A(hvschottkypump, L41_0, 117.675, 43.165, 0.26, 0.26, 4, 2, 0.52, 0.52)
A(hvschottkypump, L41_0, 119.235, 43.165, 0.26, 0.26, 4, 2, 0.52, 0.52)
A(hvschottkypump, L41_0, 120.795, 43.165, 0.26, 0.26, 4, 2, 0.52, 0.52)
A(hvschottkypump, L41_0, 122.355, 43.165, 0.26, 0.26, 4, 2, 0.52, 0.52)
A(hvschottkypump, L41_0, 123.915, 43.165, 0.26, 0.26, 4, 2, 0.52, 0.52)
A(hvschottkypump, L41_0, 125.475, 43.165, 0.26, 0.26, 4, 2, 0.52, 0.52)
A(hvschottkypump, L41_0, 127.035, 43.165, 0.26, 0.26, 4, 2, 0.52, 0.52)
A(hvschottkypump, L41_0, 128.595, 43.165, 0.26, 0.26, 4, 2, 0.52, 0.52)
A(hvschottkypump, L41_0, 130.155, 43.165, 0.26, 0.26, 4, 2, 0.52, 0.52)
A(hvschottkypump, L41_0, 131.715, 43.165, 0.26, 0.26, 4, 2, 0.52, 0.52)
A(hvschottkypump, L41_0, 133.275, 43.165, 0.26, 0.26, 4, 2, 0.52, 0.52)
A(hvschottkypump, L41_0, 134.835, 43.165, 0.26, 0.26, 4, 2, 0.52, 0.52)
A(hvschottkypump, L41_0, 136.395, 43.165, 0.26, 0.26, 4, 2, 0.52, 0.52)
A(hvschottkypump, L41_0, 8.29, 43.185, 0.26, 0.26, 4, 2, 0.52, 0.52)
A(hvschottkypump, L41_0, 9.85, 43.185, 0.26, 0.26, 4, 2, 0.52, 0.52)
A(hvschottkypump, L41_0, 11.41, 43.185, 0.26, 0.26, 4, 2, 0.52, 0.52)
A(hvschottkypump, L41_0, 12.97, 43.185, 0.26, 0.26, 4, 2, 0.52, 0.52)
A(hvschottkypump, L41_0, 14.53, 43.185, 0.26, 0.26, 4, 2, 0.52, 0.52)
A(hvschottkypump, L41_0, 16.09, 43.185, 0.26, 0.26, 4, 2, 0.52, 0.52)
A(hvschottkypump, L41_0, 17.65, 43.185, 0.26, 0.26, 4, 2, 0.52, 0.52)
A(hvschottkypump, L41_0, 19.21, 43.185, 0.26, 0.26, 4, 2, 0.52, 0.52)
A(hvschottkypump, L41_0, 20.77, 43.185, 0.26, 0.26, 4, 2, 0.52, 0.52)
A(hvschottkypump, L41_0, 22.33, 43.185, 0.26, 0.26, 4, 2, 0.52, 0.52)
A(hvschottkypump, L41_0, 23.89, 43.185, 0.26, 0.26, 4, 2, 0.52, 0.52)
A(hvschottkypump, L41_0, 25.45, 43.185, 0.26, 0.26, 4, 2, 0.52, 0.52)
A(hvschottkypump, L41_0, 27.01, 43.185, 0.26, 0.26, 4, 2, 0.52, 0.52)
A(hvschottkypump, L41_0, 28.57, 43.185, 0.26, 0.26, 4, 2, 0.52, 0.52)
A(hvschottkypump, L41_0, 30.13, 43.185, 0.26, 0.26, 4, 2, 0.52, 0.52)
A(hvschottkypump, L41_0, 31.69, 43.185, 0.26, 0.26, 4, 2, 0.52, 0.52)
A(hvschottkypump, L41_0, 38.665, 49.85, 0.26, 0.26, 7, 2, 0.76, 0.76)
A(hvschottkypump, L41_0, 59.095, 49.85, 0.26, 0.26, 7, 2, 0.76, 0.76)
A(hvschottkypump, L41_0, 103.95, 58.66, 0.26, 0.26, 4, 2, 0.52, 0.52)
A(hvschottkypump, L41_0, 31.875, 58.85, 0.26, 0.26, 7, 2, 0.76, 0.76)
A(hvschottkypump, L41_0, 59.095, 58.85, 0.26, 0.26, 7, 2, 0.76, 0.76)
A(hvschottkypump, L41_0, 8.29, 74.525, 0.26, 0.26, 4, 2, 0.52, 0.52)
A(hvschottkypump, L41_0, 9.85, 74.525, 0.26, 0.26, 4, 2, 0.52, 0.52)
A(hvschottkypump, L41_0, 11.41, 74.525, 0.26, 0.26, 4, 2, 0.52, 0.52)
A(hvschottkypump, L41_0, 12.97, 74.525, 0.26, 0.26, 4, 2, 0.52, 0.52)
A(hvschottkypump, L41_0, 14.53, 74.525, 0.26, 0.26, 4, 2, 0.52, 0.52)
A(hvschottkypump, L41_0, 16.09, 74.525, 0.26, 0.26, 4, 2, 0.52, 0.52)
A(hvschottkypump, L41_0, 17.65, 74.525, 0.26, 0.26, 4, 2, 0.52, 0.52)
A(hvschottkypump, L41_0, 19.21, 74.525, 0.26, 0.26, 4, 2, 0.52, 0.52)
A(hvschottkypump, L41_0, 20.77, 74.525, 0.26, 0.26, 4, 2, 0.52, 0.52)
A(hvschottkypump, L41_0, 22.33, 74.525, 0.26, 0.26, 4, 2, 0.52, 0.52)
A(hvschottkypump, L41_0, 23.89, 74.525, 0.26, 0.26, 4, 2, 0.52, 0.52)
A(hvschottkypump, L41_0, 25.45, 74.525, 0.26, 0.26, 4, 2, 0.52, 0.52)
A(hvschottkypump, L41_0, 27.01, 74.525, 0.26, 0.26, 4, 2, 0.52, 0.52)
A(hvschottkypump, L41_0, 28.57, 74.525, 0.26, 0.26, 4, 2, 0.52, 0.52)
A(hvschottkypump, L41_0, 30.13, 74.525, 0.26, 0.26, 4, 2, 0.52, 0.52)
A(hvschottkypump, L41_0, 31.69, 74.525, 0.26, 0.26, 4, 2, 0.52, 0.52)
A(hvschottkypump, L41_0, 62.76, 74.525, 0.26, 0.26, 4, 2, 0.52, 0.52)
A(hvschottkypump, L41_0, 64.32, 74.525, 0.26, 0.26, 4, 2, 0.52, 0.52)
A(hvschottkypump, L41_0, 65.88, 74.525, 0.26, 0.26, 4, 2, 0.52, 0.52)
A(hvschottkypump, L41_0, 67.44, 74.525, 0.26, 0.26, 4, 2, 0.52, 0.52)
A(hvschottkypump, L41_0, 69, 74.525, 0.26, 0.26, 4, 2, 0.52, 0.52)
A(hvschottkypump, L41_0, 70.56, 74.525, 0.26, 0.26, 4, 2, 0.52, 0.52)
A(hvschottkypump, L41_0, 72.12, 74.525, 0.26, 0.26, 4, 2, 0.52, 0.52)
A(hvschottkypump, L41_0, 73.68, 74.525, 0.26, 0.26, 4, 2, 0.52, 0.52)
A(hvschottkypump, L41_0, 75.24, 74.525, 0.26, 0.26, 4, 2, 0.52, 0.52)
A(hvschottkypump, L41_0, 76.8, 74.525, 0.26, 0.26, 4, 2, 0.52, 0.52)
A(hvschottkypump, L41_0, 78.36, 74.525, 0.26, 0.26, 4, 2, 0.52, 0.52)
A(hvschottkypump, L41_0, 79.92, 74.525, 0.26, 0.26, 4, 2, 0.52, 0.52)
A(hvschottkypump, L41_0, 81.48, 74.525, 0.26, 0.26, 4, 2, 0.52, 0.52)
A(hvschottkypump, L41_0, 83.04, 74.525, 0.26, 0.26, 4, 2, 0.52, 0.52)
A(hvschottkypump, L41_0, 84.6, 74.525, 0.26, 0.26, 4, 2, 0.52, 0.52)
A(hvschottkypump, L41_0, 86.16, 74.525, 0.26, 0.26, 4, 2, 0.52, 0.52)
A(hvschottkypump, L41_0, 42.19, 79.1, 0.26, 0.26, 1, 50, 0, 0.76)
A(hvschottkypump, L41_0, 42.95, 79.1, 0.26, 0.26, 1, 50, 0, 0.76)
A(hvschottkypump, L41_0, 52.59, 79.1, 0.26, 0.26, 1, 50, 0, 0.76)
A(hvschottkypump, L41_0, 53.35, 79.1, 0.26, 0.26, 1, 50, 0, 0.76)
R(hvschottkypump, L41_0, [(105.51,58.66,105.77,58.92), (105.51,59.18,105.77,59.44)])
A(hvschottkypump, L42_0, 60.675, 42.945, 2.47, 1.245, 16, 1, 1.56, 0)
A(hvschottkypump, L42_0, 112.65, 42.945, 2.47, 1.245, 16, 1, 1.56, 0)
A(hvschottkypump, L42_0, 7.945, 42.965, 2.47, 1.245, 16, 2, 1.56, 31.315)
R(hvschottkypump, L42_0, [(38.455,49.73,43.695,50.99), (58.885,49.73,64.125,50.99), (103.605,58.44,106.075,59.685), (31.665,58.73,36.905,59.99), (58.885,58.73,64.125,59.99)])
A(hvschottkypump, L46_0, 60.675, 42.945, 2.47, 1.245, 16, 1, 1.56, 0)
A(hvschottkypump, L46_0, 112.65, 42.945, 2.47, 1.245, 16, 1, 1.56, 0)
A(hvschottkypump, L46_0, 7.945, 42.965, 2.47, 1.245, 16, 2, 1.56, 31.315)
A(hvschottkypump, L46_0, 62.415, 74.28, 2.47, 1.245, 16, 1, 1.56, 0)
R(hvschottkypump, L46_0, [(51.6,-0.02,54.6,41.18), (103.575,-0.02,106.575,41.18), (41.2,0,44.2,41.2), (33.815,42.965,60.675,44.19), (38.455,49.73,43.695,50.99), (58.885,49.73,64.125,50.99), (103.605,58.44,106.075,59.685), (31.665,58.73,36.905,59.99), (58.885,58.73,64.125,59.99), (33.815,74.28,62.415,75.525), (41.2,77.29,44.2,118.49), (51.6,77.29,54.6,118.49)])
A(hvschottkypump, L81_0, 60.675, 42.945, 2.47, 1.245, 16, 1, 1.56, 0)
A(hvschottkypump, L81_0, 112.65, 42.945, 2.47, 1.245, 16, 1, 1.56, 0)
A(hvschottkypump, L81_0, 7.945, 42.965, 2.47, 1.245, 16, 2, 1.56, 31.315)
A(hvschottkypump, L81_0, 62.415, 74.28, 2.47, 1.245, 16, 1, 1.56, 0)
R(hvschottkypump, L81_0, [(52.1,0.98,54.1,40.18), (104.075,0.98,106.075,40.18), (41.7,1,43.7,40.2), (60.675,40.58,86.545,42.945), (112.65,40.58,138.52,42.945), (7.945,40.6,33.815,42.965), (52.1,49,54.1,50.99), (38.455,49.73,43.695,50.99), (52.1,49.73,58.885,50.99), (58.885,49.73,64.125,50.99), (103.605,58.155,106.075,59.95), (103.605,58.44,106.075,59.685), (31.665,58.73,36.905,59.99), (36.905,58.73,43.7,59.99), (52.1,58.73,58.885,59.99), (58.885,58.73,64.125,59.99), (7.945,75.525,33.815,77.89), (62.415,75.525,88.285,77.89), (41.7,78.29,43.7,117.49), (52.1,78.29,54.1,117.49)])
hvschottkypump.add(gdstk.FlexPath([(19.435,54.5),(0,54.5)], 1, ends="flush", simple_path=True, layer=34, datatype=0))  # L34_0
hvschottkypump.add(gdstk.FlexPath([(19.335,63.2),(0,63.2)], 1, ends="flush", simple_path=True, layer=34, datatype=0))  # L34_0
hvschottkypump.add(gdstk.FlexPath([(42.7,78.29),(42.7,58.74)], 2, ends="flush", simple_path=True, layer=81, datatype=0))  # L81_0
hvschottkypump.add(gdstk.FlexPath([(42.7,40.2),(42.7,49.74),(42.7,49.74),(42.7,49.74),(42.7,49.74)], 2, ends="flush", simple_path=True, layer=81, datatype=0))  # L81_0
hvschottkypump.add(gdstk.FlexPath([(53.1,78.29),(53.1,58.74)], 2, ends="flush", simple_path=True, layer=81, datatype=0))  # L81_0
hvschottkypump.add(gdstk.FlexPath([(53.1,40.18),(53.1,49)], 2, ends="flush", simple_path=True, layer=81, datatype=0))  # L81_0
hvschottkypump.add(gdstk.FlexPath([(105.075,40.18),(105.075,59.95)], 2, ends="flush", simple_path=True, layer=81, datatype=0))  # L81_0
hvschottkypump.add(gdstk.FlexPath([(91.985,62.655),(113.995,62.655),(113.995,62.655)], 0.65, ends="flush", simple_path=True, layer=36, datatype=0))  # L36_0
hvschottkypump.add(gdstk.Reference(cap_mim, (55.2,77.89)))
hvschottkypump.add(gdstk.Reference(cap_mim, (0.6,77.89)))
hvschottkypump.add(gdstk.Reference(cap_mim, (0.6,0.6)))
hvschottkypump.add(gdstk.Reference(cap_mim, (55.2,0.58)))
hvschottkypump.add(gdstk.Reference(cap_mim, (107.175,0.58)))
hvschottkypump.add(gdstk.Reference(sc_diode, (31.02,53.16)))
hvschottkypump.add(gdstk.Reference(sc_diode, (85.57,63.47)))
hvschottkypump.add(gdstk.Reference(sc_diode, (58.25,63.58)))
hvschottkypump.add(gdstk.Reference(sc_diode, (58.25,53.06)))
hvschottkypump.add(gdstk.Reference(sc_diode, (31.02,53.16)))
hvschottkypump.add(gdstk.Reference(sc_diode, (58.25,63.58)))
hvschottkypump.add(gdstk.Reference(sc_diode, (58.25,53.06)))
hvschottkypump.add(gdstk.Reference(sc_diode, (58.25,53.06)))
hvschottkypump.add(gdstk.Reference(sc_diode, (85.57,63.47)))
hvschottkypump.add(gdstk.Reference(sc_diode, (85.57,63.47)))
hvschottkypump.add(gdstk.Reference(sc_diode, (31.02,63.68)))
hvschottkypump.add(gdstk.Label('PHI2_w', (0.508,54.5), layer=34, texttype=10))
hvschottkypump.add(gdstk.Label('PHI1_w', (0.5,63.18), layer=34, texttype=10))
hvschottkypump.add(gdstk.Label('GND_w', (1.52,49.545), layer=34, texttype=10))
hvschottkypump.add(gdstk.Label('Vin_w', (0.588,67.947), layer=34, texttype=10))
hvschottkypump.add(gdstk.Label('Vin_w', (0.588,67.947), layer=34, texttype=10))
hvschottkypump.add(gdstk.Label('Vin_w', (0.588,67.947), layer=34, texttype=10))
hvschottkypump.add(gdstk.Label('Vin_w', (0.588,67.947), layer=34, texttype=10))
hvschottkypump.add(gdstk.Label('Vout_e', (149.35,43.605), layer=34, texttype=10))

lib.write_gds('HVSchottkyPump.gds')
